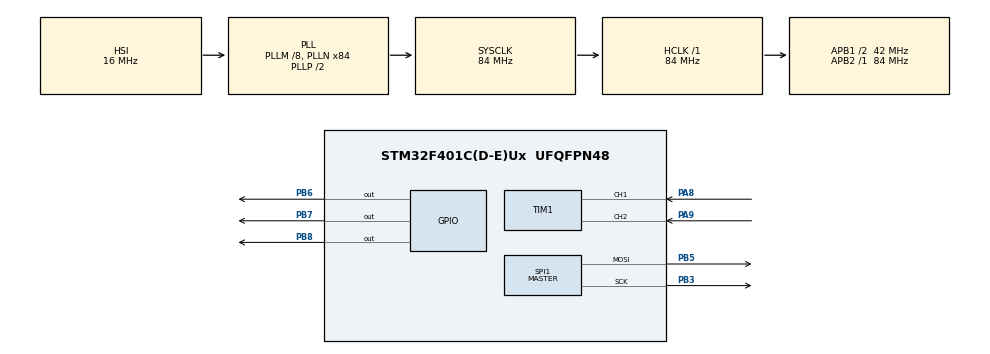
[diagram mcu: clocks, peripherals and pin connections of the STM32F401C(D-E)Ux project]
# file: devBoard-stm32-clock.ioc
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Mcu.Family=STM32F4
Mcu.Name=STM32F401C(D-E)Ux
Mcu.Package=UFQFPN48
NVIC.PriorityGroup=NVIC_PRIORITYGROUP_4
PA8.Signal=S_TIM1_CH1
PA9.Signal=S_TIM1_CH2
PB3.Mode=TX_Only_Simplex_Unidirect_Master
PB3.Signal=SPI1_SCK
PB5.Mode=TX_Only_Simplex_Unidirect_Master
PB5.Signal=SPI1_MOSI
PB6.Signal=GPIO_Output
PB7.Signal=GPIO_Output
PB8.Signal=GPIO_Output
PH0\ -\ OSC_IN.Mode=HSE-External-Oscillator
PH0\ -\ OSC_IN.Signal=RCC_OSC_IN
PH1\ -\ OSC_OUT.Mode=HSE-External-Oscillator
PH1\ -\ OSC_OUT.Signal=RCC_OSC_OUT
ProjectManager.HeapSize=0x200
ProjectManager.StackSize=0x400
ProjectManager.TargetToolchain=Makefile
RCC.48MHZClocksFreq_Value=42000000
RCC.AHBFreq_Value=84000000
RCC.APB1CLKDivider=RCC_HCLK_DIV2
RCC.APB1Freq_Value=42000000
RCC.APB1TimFreq_Value=84000000
RCC.APB2Freq_Value=84000000
RCC.APB2TimFreq_Value=84000000
RCC.CortexFreq_Value=84000000
RCC.HCLKFreq_Value=84000000
RCC.HSE_VALUE=25000000
RCC.HSI_VALUE=16000000
RCC.LSE_VALUE=32768
RCC.PLLM=8
RCC.PLLN=84
RCC.SYSCLKFreq_VALUE=84000000
RCC.SYSCLKSource=RCC_SYSCLKSOURCE_PLLCLK
RCC.VCOOutputFreq_Value=168000000
SH.S_TIM1_CH1.0=TIM1_CH1,Encoder_Interface
SH.S_TIM1_CH2.0=TIM1_CH2,Encoder_Interface
SPI1.Direction=SPI_DIRECTION_2LINES
SPI1.Mode=SPI_MODE_MASTER
SPI1.VirtualType=VM_MASTER
TIM1.CounterMode=TIM_COUNTERMODE_UP
TIM1.IC1Prescaler=TIM_ICPSC_DIV1
TIM1.IC2Prescaler=TIM_ICPSC_DIV1
board=custom

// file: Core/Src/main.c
/* USER CODE BEGIN Header */
/**
  ******************************************************************************
  * @file           : main.c
  * @brief          : Main program body
  ******************************************************************************
  * @attention
  *
  * Copyright (c) 2022 STMicroelectronics.
  * All rights reserved.
  *
  * This software is licensed under terms that can be found in the LICENSE file
  * in the root directory of this software component.
  * If no LICENSE file comes with this software, it is provided AS-IS.
  *
  ******************************************************************************
  */
/* USER CODE END Header */
#include "main.h"

/* USER CODE BEGIN Includes */
#include <string.h>
#include "sh1106_buf.h"
#include "menu.h"
#include "encoder.h"
/* USER CODE END Includes */

/* USER CODE BEGIN PD */
#define DISP_CTRL_PORT GPIOB
#define DISP_DC GPIO_PIN_7
#define DISP_RES GPIO_PIN_8
/* USER CODE END PD */

 SPI_HandleTypeDef hspi1;

TIM_HandleTypeDef htim1;

void SystemClock_Config(void);
static void MX_GPIO_Init(void);
static void MX_SPI1_Init(void);
static void MX_TIM1_Init(void);

int main(void)
{

  /* MCU Configuration--------------------------------------------------------*/

  /* Reset of all peripherals, Initializes the Flash interface and the Systick. */
  HAL_Init();

  /* Configure the system clock */
  SystemClock_Config();

  /* Initialize all configured peripherals */
  MX_GPIO_Init();
  MX_SPI1_Init();
  MX_TIM1_Init();
  /* USER CODE BEGIN 2 */
    HAL_TIM_Encoder_Start(&htim1, TIM_CHANNEL_ALL);
    encoder_init(TIM1);
    sh1106_init(DISP_CTRL_PORT, &hspi1, DISP_DC, DISP_RES);

    // sh1106_dirty_clear_screen();
    // sh1106_write_str("#!/bin/bash", 40, 2);
  /* USER CODE END 2 */

  /* Infinite loop */
  /* USER CODE BEGIN WHILE */
  while (1)
  {
        t_encoder_move encoder_cur = encoder_move();
        if (encoder_cur == ENCODER_DOWN)
            menu_prev();
        if (encoder_cur == ENCODER_UP)
            menu_next();
        sh1106_clear_screen();
        menu_show_view();
        sh1106_write_buffer();
    /* USER CODE END WHILE */

  }
}

void SystemClock_Config(void)
{
  RCC_OscInitTypeDef RCC_OscInitStruct = {0};
  RCC_ClkInitTypeDef RCC_ClkInitStruct = {0};

  /** Configure the main internal regulator output voltage
  */
  __HAL_RCC_PWR_CLK_ENABLE();
  __HAL_PWR_VOLTAGESCALING_CONFIG(PWR_REGULATOR_VOLTAGE_SCALE2);

  /** Initializes the RCC Oscillators according to the specified parameters
  * in the RCC_OscInitTypeDef structure.
  */
  RCC_OscInitStruct.OscillatorType = RCC_OSCILLATORTYPE_HSI;
  RCC_OscInitStruct.HSIState = RCC_HSI_ON;
  RCC_OscInitStruct.HSICalibrationValue = RCC_HSICALIBRATION_DEFAULT;
  RCC_OscInitStruct.PLL.PLLState = RCC_PLL_ON;
  RCC_OscInitStruct.PLL.PLLSource = RCC_PLLSOURCE_HSI;
  RCC_OscInitStruct.PLL.PLLM = 8;
  RCC_OscInitStruct.PLL.PLLN = 84;
  RCC_OscInitStruct.PLL.PLLP = RCC_PLLP_DIV2;
  RCC_OscInitStruct.PLL.PLLQ = 4;
  if (HAL_RCC_OscConfig(&RCC_OscInitStruct) != HAL_OK)
  {
    Error_Handler();
  }

  /** Initializes the CPU, AHB and APB buses clocks
  */
  RCC_ClkInitStruct.ClockType = RCC_CLOCKTYPE_HCLK|RCC_CLOCKTYPE_SYSCLK
                              |RCC_CLOCKTYPE_PCLK1|RCC_CLOCKTYPE_PCLK2;
  RCC_ClkInitStruct.SYSCLKSource = RCC_SYSCLKSOURCE_PLLCLK;
  RCC_ClkInitStruct.AHBCLKDivider = RCC_SYSCLK_DIV1;
  RCC_ClkInitStruct.APB1CLKDivider = RCC_HCLK_DIV2;
  RCC_ClkInitStruct.APB2CLKDivider = RCC_HCLK_DIV1;

  if (HAL_RCC_ClockConfig(&RCC_ClkInitStruct, FLASH_LATENCY_2) != HAL_OK)
  {
    Error_Handler();
  }
}

static void MX_SPI1_Init(void)
{

  /* SPI1 parameter configuration*/
  hspi1.Instance = SPI1;
  hspi1.Init.Mode = SPI_MODE_MASTER;
  hspi1.Init.Direction = SPI_DIRECTION_2LINES;
  hspi1.Init.DataSize = SPI_DATASIZE_8BIT;
  hspi1.Init.CLKPolarity = SPI_POLARITY_LOW;
  hspi1.Init.CLKPhase = SPI_PHASE_1EDGE;
  hspi1.Init.NSS = SPI_NSS_SOFT;
  hspi1.Init.BaudRatePrescaler = SPI_BAUDRATEPRESCALER_2;
  hspi1.Init.FirstBit = SPI_FIRSTBIT_MSB;
  hspi1.Init.TIMode = SPI_TIMODE_DISABLE;
  hspi1.Init.CRCCalculation = SPI_CRCCALCULATION_DISABLE;
  hspi1.Init.CRCPolynomial = 10;
  if (HAL_SPI_Init(&hspi1) != HAL_OK)
  {
    Error_Handler();
  }

}

static void MX_TIM1_Init(void)
{

  TIM_Encoder_InitTypeDef sConfig = {0};
  TIM_MasterConfigTypeDef sMasterConfig = {0};

  htim1.Instance = TIM1;
  htim1.Init.Prescaler = 0;
  htim1.Init.CounterMode = TIM_COUNTERMODE_UP;
  htim1.Init.Period = 65535;
  htim1.Init.ClockDivision = TIM_CLOCKDIVISION_DIV1;
  htim1.Init.RepetitionCounter = 0;
  htim1.Init.AutoReloadPreload = TIM_AUTORELOAD_PRELOAD_DISABLE;
  sConfig.EncoderMode = TIM_ENCODERMODE_TI1;
  sConfig.IC1Polarity = TIM_ICPOLARITY_RISING;
  sConfig.IC1Selection = TIM_ICSELECTION_DIRECTTI;
  sConfig.IC1Prescaler = TIM_ICPSC_DIV1;
  sConfig.IC1Filter = 0;
  sConfig.IC2Polarity = TIM_ICPOLARITY_RISING;
  sConfig.IC2Selection = TIM_ICSELECTION_DIRECTTI;
  sConfig.IC2Prescaler = TIM_ICPSC_DIV1;
  sConfig.IC2Filter = 0;
  if (HAL_TIM_Encoder_Init(&htim1, &sConfig) != HAL_OK)
  {
    Error_Handler();
  }
  sMasterConfig.MasterOutputTrigger = TIM_TRGO_RESET;
  sMasterConfig.MasterSlaveMode = TIM_MASTERSLAVEMODE_DISABLE;
  if (HAL_TIMEx_MasterConfigSynchronization(&htim1, &sMasterConfig) != HAL_OK)
  {
    Error_Handler();
  }

}

static void MX_GPIO_Init(void)
{
  GPIO_InitTypeDef GPIO_InitStruct = {0};

  /* GPIO Ports Clock Enable */
  __HAL_RCC_GPIOH_CLK_ENABLE();
  __HAL_RCC_GPIOA_CLK_ENABLE();
  __HAL_RCC_GPIOB_CLK_ENABLE();

  /*Configure GPIO pin Output Level */
  HAL_GPIO_WritePin(GPIOB, GPIO_PIN_6|GPIO_PIN_7|GPIO_PIN_8, GPIO_PIN_RESET);

  /*Configure GPIO pins : PB6 PB7 PB8 */
  GPIO_InitStruct.Pin = GPIO_PIN_6|GPIO_PIN_7|GPIO_PIN_8;
  GPIO_InitStruct.Mode = GPIO_MODE_OUTPUT_PP;
  GPIO_InitStruct.Pull = GPIO_NOPULL;
  GPIO_InitStruct.Speed = GPIO_SPEED_FREQ_LOW;
  HAL_GPIO_Init(GPIOB, &GPIO_InitStruct);

}

void Error_Handler(void)
{
  __disable_irq();
  while (1)
  {
  }
}
